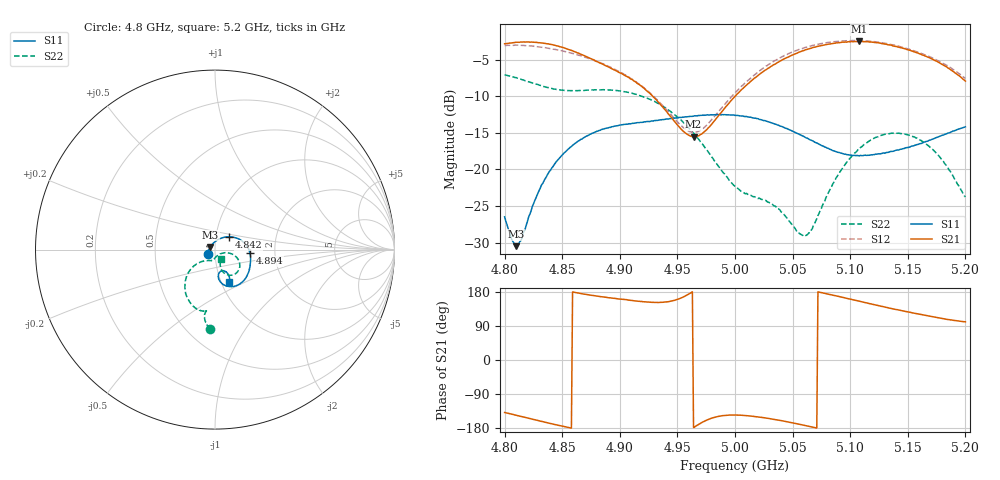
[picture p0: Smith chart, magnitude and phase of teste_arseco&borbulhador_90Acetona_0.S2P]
! Network Analyzer HP8722D
! Hewlett-Packard
! Data name: Linha & Wilkinson
! Saver's name: Rodrigo Anjos
! Comments: Teste da utilização de aquisição
! continua pelo VNA HP8722D
! Time and date: 17/4/2025 11:03
!  Frequency  S11  S21  S12  S22
# HZ  S  MA R 50
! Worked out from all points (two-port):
!   401 points, 4.8 GHz to 5.2 GHz, reference 50 ohm
!   highest |S21| = -2.52 dB at 5.108 GHz (marker M1); lowest = -15.5 dB at 4.964 GHz (marker M2)
!   |S21| within 3 dB of the highest: start of sweep to 4.883 GHz; 5.036 GHz to 5.178 GHz (142.5 MHz wide, 2.79 % of centre)
!   lowest |S11| = -30.5 dB at 4.81 GHz (marker M3), VSWR 1.06, Z = 47.5 + j1.44 ohm
!   |S11| at or under -10 dB: start of sweep to end of sweep
!   |S22| runs from -29.2 to -7.1 dB; largest |S21 - S12| = 0.085
!   S11 on the Smith chart (normalised r, x): 4.8 GHz: 0.92, -0.04; 4.842 GHz: 1.15, +0.17; 4.894 GHz: 1.48, -0.06; 5.2 GHz: 1.10, -0.41
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4.8e9  0.04737 -151.4  0.7205 -138.5  0.7005 -136.2  0.4413 -93.3
4.81e9  0.02988 149.5  0.7378 -145.7  0.7049 -143.5  0.423 -96.1
4.814e9  0.03247 119.8  0.741 -148.7  0.7042 -146.1  0.4133 -97.0
4.83e9  0.07174 61.7  0.7327 -160.5  0.686 -156.2  0.3762 -98.9
4.842e9  0.1044 43.1  0.7076 -169.1  0.6614 -163.7  0.3556 -98.7
4.867e9  0.1606 15.8  0.6085 175.0  0.5916 -177.6  0.3459 -98.5
4.894e9  0.1957 -5.6  0.482 163.1  0.4906 169.1  0.3469 -105.8
4.934e9  0.217 -26.4  0.2842 151.7  0.2908 158.6  0.2799 -126.5
4.954e9  0.2268 -35.3  0.1857 164.7  0.1966 170.8  0.2135 -137.3
4.964e9  0.2312 -40.0  0.167 -178.2  0.1789 -173.2  0.177 -140.9
4.976e9  0.2355 -45.9  0.1884 -157.8  0.2022 -154.1  0.1343 -142.0
5e9  0.2337 -58.5  0.315 -145.4  0.3332 -142.6  0.07682 -126.9
5.033e9  0.206 -74.6  0.5154 -156.2  0.5426 -154.5  0.05713 -99.1
5.058e9  0.1702 -82.3  0.6417 -170.9  0.666 -170.2  0.03564 -62.8
5.067e9  0.1571 -83.1  0.6763 -176.8  0.7009 -176.1  0.0392 -34.6
5.087e9  0.1328 -80.2  0.7272 169.6  0.745 170.2  0.08509 -13.7
5.108e9  0.1236 -72.8  0.7479 155.2  0.7561 155.9  0.1383 -22.5
5.134e9  0.1313 -65.5  0.7079 136.9  0.7168 138.5  0.1753 -42.6
5.151e9  0.1414 -62.9  0.652 126.3  0.663 127.8  0.1712 -56.0
5.167e9  0.1556 -61.8  0.5854 116.9  0.5956 118.4  0.1468 -67.1
5.182e9  0.1731 -62.3  0.509 108.4  0.5224 110.4  0.1096 -72.5
5.2e9  0.1952 -65.7  0.4007 100.7  0.4174 102.3  0.06484 -57.6
